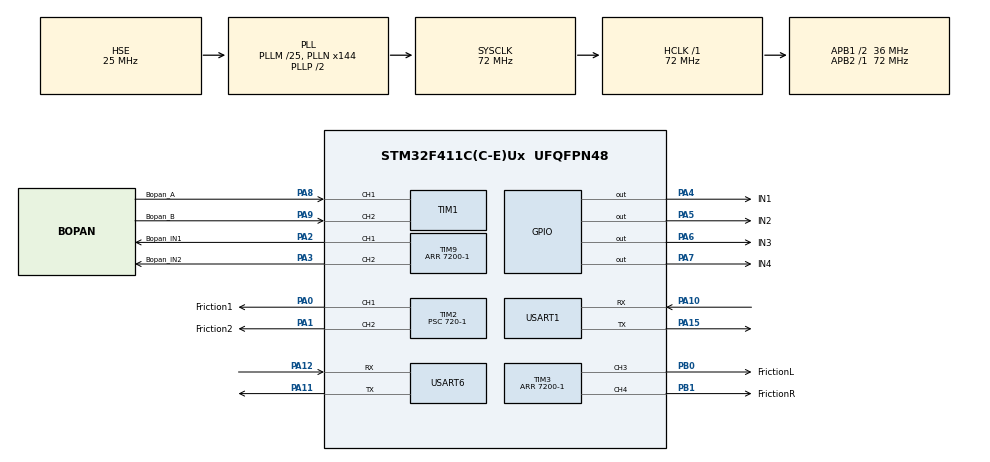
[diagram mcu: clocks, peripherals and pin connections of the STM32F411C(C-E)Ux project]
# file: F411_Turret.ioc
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Mcu.Family=STM32F4
Mcu.Name=STM32F411C(C-E)Ux
Mcu.Package=UFQFPN48
NVIC.PriorityGroup=NVIC_PRIORITYGROUP_4
NVIC.TIM1_UP_TIM10_IRQn=true\:0\:0\:false\:false\:true\:true\:true\:true
NVIC.USART1_IRQn=true\:0\:0\:false\:false\:true\:true\:true\:true
NVIC.USART6_IRQn=true\:0\:0\:false\:false\:true\:true\:true\:true
PA0-WKUP.GPIO_Label=Friction1
PA0-WKUP.GPIO_PuPd=GPIO_NOPULL
PA0-WKUP.Signal=S_TIM2_CH1_ETR
PA1.GPIO_Label=Friction2
PA1.GPIO_PuPd=GPIO_NOPULL
PA1.Signal=S_TIM2_CH2
PA10.Mode=Asynchronous
PA10.Signal=USART1_RX
PA11.Mode=Asynchronous
PA11.Signal=USART6_TX
PA12.Mode=Asynchronous
PA12.Signal=USART6_RX
PA13.Mode=Serial_Wire
PA13.Signal=SYS_JTMS-SWDIO
PA14.Mode=Serial_Wire
PA14.Signal=SYS_JTCK-SWCLK
PA15.Mode=Asynchronous
PA15.Signal=USART1_TX
PA2.GPIO_Label=Bopan_IN1
PA2.Signal=S_TIM9_CH1
PA3.GPIO_Label=Bopan_IN2
PA3.Signal=S_TIM9_CH2
PA4.GPIO_Label=IN1
PA4.GPIO_PuPd=GPIO_PULLDOWN
PA4.GPIO_Speed=GPIO_SPEED_FREQ_HIGH
PA4.PinState=GPIO_PIN_SET
PA4.Signal=GPIO_Output
PA5.GPIO_Label=IN2
PA5.GPIO_PuPd=GPIO_PULLDOWN
PA5.GPIO_Speed=GPIO_SPEED_FREQ_HIGH
PA5.PinState=GPIO_PIN_SET
PA5.Signal=GPIO_Output
PA6.GPIO_Label=IN3
PA6.GPIO_PuPd=GPIO_PULLDOWN
PA6.GPIO_Speed=GPIO_SPEED_FREQ_HIGH
PA6.PinState=GPIO_PIN_SET
PA6.Signal=GPIO_Output
PA7.GPIO_Label=IN4
PA7.GPIO_PuPd=GPIO_PULLDOWN
PA7.GPIO_Speed=GPIO_SPEED_FREQ_HIGH
PA7.PinState=GPIO_PIN_SET
PA7.Signal=GPIO_Output
PA8.GPIO_Label=Bopan_A
PA8.Signal=S_TIM1_CH1
PA9.GPIO_Label=Bopan_B
PA9.Signal=S_TIM1_CH2
PB0.GPIO_Label=FrictionL
PB0.Signal=S_TIM3_CH3
PB1.GPIO_Label=FrictionR
PB1.Signal=S_TIM3_CH4
PH0\ -\ OSC_IN.Mode=HSE-External-Oscillator
PH0\ -\ OSC_IN.Signal=RCC_OSC_IN
PH1\ -\ OSC_OUT.Mode=HSE-External-Oscillator
PH1\ -\ OSC_OUT.Signal=RCC_OSC_OUT
ProjectManager.HeapSize=0x200
ProjectManager.StackSize=0x400
ProjectManager.TargetToolchain=MDK-ARM V5.32
RCC.48MHZClocksFreq_Value=36000000
RCC.AHBFreq_Value=72000000
RCC.APB1CLKDivider=RCC_HCLK_DIV2
RCC.APB1Freq_Value=36000000
RCC.APB1TimFreq_Value=72000000
RCC.APB2Freq_Value=72000000
RCC.APB2TimFreq_Value=72000000
RCC.CortexFreq_Value=72000000
RCC.HCLKFreq_Value=72000000
RCC.HSE_VALUE=25000000
RCC.HSI_VALUE=16000000
RCC.LSE_VALUE=32768
RCC.PLLM=25
RCC.PLLN=144
RCC.PLLSourceVirtual=RCC_PLLSOURCE_HSE
RCC.SYSCLKFreq_VALUE=72000000
RCC.SYSCLKSource=RCC_SYSCLKSOURCE_PLLCLK
RCC.VCOOutputFreq_Value=144000000
SH.S_TIM1_CH1.0=TIM1_CH1,Encoder_Interface
SH.S_TIM1_CH2.0=TIM1_CH2,Encoder_Interface
SH.S_TIM2_CH1_ETR.0=TIM2_CH1,PWM Generation1 CH1
SH.S_TIM2_CH2.0=TIM2_CH2,PWM Generation2 CH2
SH.S_TIM3_CH3.0=TIM3_CH3,PWM Generation3 CH3
SH.S_TIM3_CH4.0=TIM3_CH4,PWM Generation4 CH4
SH.S_TIM9_CH1.0=TIM9_CH1,PWM Generation1 CH1
SH.S_TIM9_CH2.0=TIM9_CH2,PWM Generation2 CH2
TIM1.AutoReloadPreload=TIM_AUTORELOAD_PRELOAD_ENABLE
TIM1.EncoderMode=TIM_ENCODERMODE_TI12
TIM10.AutoReloadPreload=TIM_AUTORELOAD_PRELOAD_ENABLE
TIM10.Period=1000-1
TIM10.Prescaler=720-1
TIM2.AutoReloadPreload=TIM_AUTORELOAD_PRELOAD_ENABLE
TIM2.Channel-PWM\ Generation1\ CH1=TIM_CHANNEL_1
TIM2.Channel-PWM\ Generation2\ CH2=TIM_CHANNEL_2
TIM2.Period=2000-1
TIM2.Prescaler=720-1
TIM3.AutoReloadPreload=TIM_AUTORELOAD_PRELOAD_ENABLE
TIM3.Channel-PWM\ Generation3\ CH3=TIM_CHANNEL_3
TIM3.Channel-PWM\ Generation4\ CH4=TIM_CHANNEL_4
TIM3.Period=7200-1
TIM9.AutoReloadPreload=TIM_AUTORELOAD_PRELOAD_ENABLE
TIM9.Channel-PWM\ Generation1\ CH1=TIM_CHANNEL_1
TIM9.Channel-PWM\ Generation2\ CH2=TIM_CHANNEL_2
TIM9.Period=7200-1
USART1.VirtualMode=VM_ASYNC
USART6.VirtualMode=VM_ASYNC
VP_TIM10_VS_ClockSourceINT.Mode=Enable_Timer
board=custom

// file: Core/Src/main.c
/* USER CODE BEGIN Header */
/**
  ******************************************************************************
  * @file           : main.c
  * @brief          : Main program body
  ******************************************************************************
  * @attention
  *
  * Copyright (c) 2022 STMicroelectronics.
  * All rights reserved.
  *
  * This software is licensed under terms that can be found in the LICENSE file
  * in the root directory of this software component.
  * If no LICENSE file comes with this software, it is provided AS-IS.
  *
  ******************************************************************************
  */
/* USER CODE END Header */
#include "main.h"
#include "tim.h"
#include "usart.h"
#include "gpio.h"

/* USER CODE BEGIN Includes */
#include "motor.h"
#include "delay.h"
#include "pid.h"
#include "communication.h"
#include "control.h"

/* USER CODE END Includes */

void SystemClock_Config(void);
/* USER CODE BEGIN PFP */
void show_motor(MOTOR_TypeDef *motor){
	printf("\r\n***\r\n");
/*	if(motor==&Forward_L)printf("FL\r\n");
	if(motor==&Forward_R)printf("FR\r\n");
	if(motor==&Back_L)printf("BL\r\n");
	if(motor==&Back_R)printf("BR\r\n");
*/
//	DataScope(motor->actual_angle,motor->target_angle);
//	DataScope(motor->actual_speed,motor->target_speed);

	printf("actual speed: %f\r\n",motor->actual_speed);
	printf("target speed: %f\r\n",motor->target_speed);

//	printf("err: %f\r\n",(float)(motor->capture_count-motor->last_count)/(beipin*xianshu*jiansubi*0.01));

/*	printf("kp: %f\r\n",motor->k_speed.p);
	printf("ki: %f\r\n",motor->k_speed.i);
	printf("kd: %f\r\n",motor->k_speed.d);
	printf("integral: %f\r\n",motor->k_speed.integral);
	printf("err_last: %f\r\n",motor->k_speed.err_last);
	printf("err_last1: %f\r\n",motor->k_speed.err_last1);
	printf("err_last2: %f\r\n",motor->k_speed.err_last2);
	printf("Motor fi: %f\r\n",motor->k_speed.fi);

*/	printf("capture_count: %d\r\n",motor->capture_count);
	printf("last_count: %d\r\n",motor->last_count);
	printf("pwm: %d\r\n",motor->pwm);
/*	printf("motor encoder_overflow: %d\r\n",motor->encoder_overflow);

	printf("kp: %f\r\n",motor->k_angle.p);
//	printf("ki: %f\r\n",motor->k_angle.i);
//	printf("kd: %f\r\n",motor->k_angle.d);
//	printf("integral: %f\r\n",motor->k_angle.integral);
//	printf("err_last: %f\r\n",motor->k_angle.err_last);
//	printf("target angle: %f\r\n",motor->target_angle);
//	printf("actual angle: %f\r\n",motor->actual_angle);
//	printf("fp: %f\r\n",motor->k_angle.fp);
*/
}
/* USER CODE END PFP */

/* USER CODE BEGIN 0 */
int pwm =0;
/* USER CODE END 0 */

int main(void)
{

  /* MCU Configuration--------------------------------------------------------*/

  /* Reset of all peripherals, Initializes the Flash interface and the Systick. */
  HAL_Init();

  /* USER CODE BEGIN Init */
  delay_init(72);
  /* USER CODE END Init */

  /* Configure the system clock */
  SystemClock_Config();

  /* Initialize all configured peripherals */
  MX_GPIO_Init();
  MX_TIM1_Init();
  MX_TIM9_Init();
  MX_TIM10_Init();
  MX_USART6_UART_Init();
  MX_USART1_UART_Init();
  MX_TIM2_Init();
  MX_TIM3_Init();
  /* USER CODE BEGIN 2 */

	MOTOR_Init();
	friction_init();

	MOTOR_Tim_Init(&Bopan);

//	Bopan.target_speed = 0.5; Bopan.mode = 0;

	Bopan.target_angle = 40;	Bopan.mode = 1;

	HAL_UART_Receive_IT(&huart6,(uint8_t *)&receiver6,1);
	HAL_UART_Receive_IT(&huart1,(uint8_t *)&receiver1,1);

	printf("Ready");

  /* USER CODE END 2 */

  /* Infinite loop */
  while (1)
  {

  }
}

void SystemClock_Config(void)
{
  RCC_OscInitTypeDef RCC_OscInitStruct = {0};
  RCC_ClkInitTypeDef RCC_ClkInitStruct = {0};

  /** Configure the main internal regulator output voltage
  */
  __HAL_RCC_PWR_CLK_ENABLE();
  __HAL_PWR_VOLTAGESCALING_CONFIG(PWR_REGULATOR_VOLTAGE_SCALE1);

  /** Initializes the RCC Oscillators according to the specified parameters
  * in the RCC_OscInitTypeDef structure.
  */
  RCC_OscInitStruct.OscillatorType = RCC_OSCILLATORTYPE_HSE;
  RCC_OscInitStruct.HSEState = RCC_HSE_ON;
  RCC_OscInitStruct.PLL.PLLState = RCC_PLL_ON;
  RCC_OscInitStruct.PLL.PLLSource = RCC_PLLSOURCE_HSE;
  RCC_OscInitStruct.PLL.PLLM = 25;
  RCC_OscInitStruct.PLL.PLLN = 144;
  RCC_OscInitStruct.PLL.PLLP = RCC_PLLP_DIV2;
  RCC_OscInitStruct.PLL.PLLQ = 4;
  if (HAL_RCC_OscConfig(&RCC_OscInitStruct) != HAL_OK)
  {
    Error_Handler();
  }

  /** Initializes the CPU, AHB and APB buses clocks
  */
  RCC_ClkInitStruct.ClockType = RCC_CLOCKTYPE_HCLK|RCC_CLOCKTYPE_SYSCLK
                              |RCC_CLOCKTYPE_PCLK1|RCC_CLOCKTYPE_PCLK2;
  RCC_ClkInitStruct.SYSCLKSource = RCC_SYSCLKSOURCE_PLLCLK;
  RCC_ClkInitStruct.AHBCLKDivider = RCC_SYSCLK_DIV1;
  RCC_ClkInitStruct.APB1CLKDivider = RCC_HCLK_DIV2;
  RCC_ClkInitStruct.APB2CLKDivider = RCC_HCLK_DIV1;

  if (HAL_RCC_ClockConfig(&RCC_ClkInitStruct, FLASH_LATENCY_2) != HAL_OK)
  {
    Error_Handler();
  }
}

/* USER CODE BEGIN 4 */

void HAL_UART_RxCpltCallback(UART_HandleTypeDef *huart){
	if(huart->Instance == USART1){
//		HAL_UART_Transmit(&huart1,(uint8_t *)&receiver1,1,1);
//		HAL_UART_Transmit(&huart6,(uint8_t *)&receiver1,1,1);
		if(receiver1 == '1')	__HAL_TIM_SetCompare(&htim2,TIM_CHANNEL_1,200),__HAL_TIM_SetCompare(&htim2,TIM_CHANNEL_2,200),printf("1\r\n");
		if(receiver1 == '2')	__HAL_TIM_SetCompare(&htim2,TIM_CHANNEL_1,100),__HAL_TIM_SetCompare(&htim2,TIM_CHANNEL_2,100),printf("2\r\n");
		if(receiver1 == '4') 	scanf("%d",&pwm), printf("OK\r\n");
		HAL_UART_Receive_IT(&huart1,(uint8_t *)&receiver1,1);
	}
	if(huart->Instance == USART6){
//		HAL_UART_Transmit(&huart6,(uint8_t *)&receiver6,1,1);
//		HAL_UART_Transmit(&huart1,(uint8_t *)&receiver6,1,1);
		f411_control(receiver6);
		HAL_UART_Receive_IT(&huart6,(uint8_t *)&receiver6,1);
	}
}

void HAL_TIM_PeriodElapsedCallback(TIM_HandleTypeDef *htim){	//计数溢出更新中断
	if(htim==(&htim1)){
		if(__HAL_TIM_IS_TIM_COUNTING_DOWN(htim))
			Bopan.encoder_overflow--;			//反转过程中溢出
		else
			Bopan.encoder_overflow++;			//正转过程中溢出
	}

	if(htim==(&htim10)){
		if(Bopan.mode){                                             //control_mode=1 角度;control_mode=0 速度
//			feedback_angle(&Bopan);			//反馈电机
			feedback_angle_double(&Bopan);
		}else{
			feedback_speed(&Bopan);																					 	//反馈电机
		}
	}
}

/* USER CODE END 4 */

void Error_Handler(void)
{
  __disable_irq();
  while (1)
  {
  }
}
